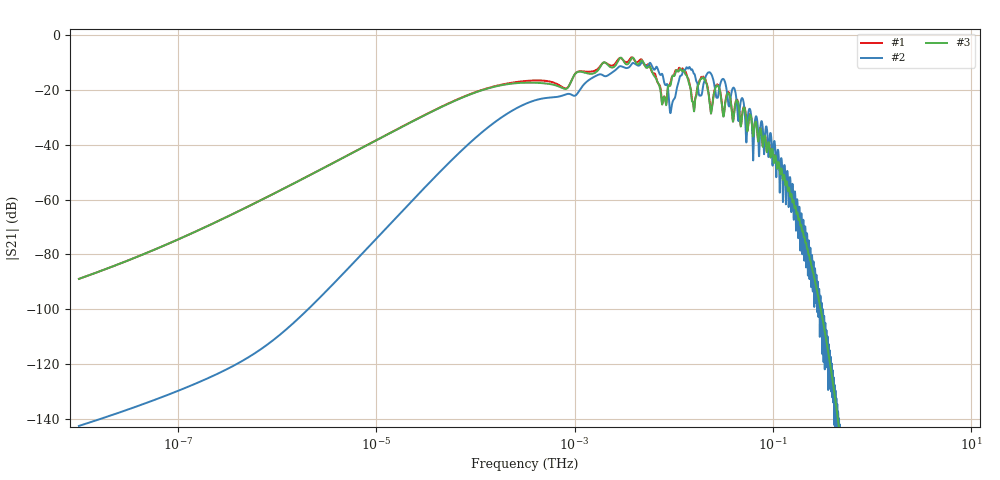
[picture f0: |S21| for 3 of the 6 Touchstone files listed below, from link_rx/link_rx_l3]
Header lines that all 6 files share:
! NPort=2 DATA=4501 NOISE=0 GROUPDELAY=0 COMPLEX_DATAFORMAT=RI
! NumOfBlock=1 NumOfParam=0
!  -- The above .MODEL line can be used for the S element in the netlist.
# Hz S RI R  50
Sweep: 10 kHz to 10 THz
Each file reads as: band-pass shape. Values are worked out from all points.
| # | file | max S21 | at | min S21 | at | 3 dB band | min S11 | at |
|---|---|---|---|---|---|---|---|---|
| 1 | lr10000_10000000000000dec_0_3.s2p | -7.96 dB | 3.784 GHz | -198.9 dB | 676.1 GHz | 2.432 GHz-5.105 GHz | -70.4 dB | 10 kHz |
| 2 | lr10000_10000000000000dec_0_5.s2p | -9.72 dB | 4.831 GHz | -198.9 dB | 657.7 GHz | 2.57 GHz-6.95 GHz | -70.4 dB | 10 kHz |
| 3 | lr10000_10000000000000dec_2_1.s2p | -8.08 dB | 3.855 GHz | -198.4 dB | 673 GHz | 2.57 GHz-5.105 GHz | -73.4 dB | 10 kHz |
| 4 | lr10000_10000000000000dec_2_5.s2p | -8.08 dB | 3.855 GHz | -198.4 dB | 673 GHz | 2.57 GHz-5.105 GHz | -73.4 dB | 10 kHz |
| 5 | lr10000_10000000000000dec_4_1.s2p | -9.72 dB | 4.831 GHz | -198.9 dB | 657.7 GHz | 2.57 GHz-6.95 GHz | -70.4 dB | 10 kHz |
| 6 | lr10000_10000000000000dec_4_3.s2p | -7.96 dB | 3.784 GHz | -198.9 dB | 676.1 GHz | 2.432 GHz-5.105 GHz | -70.4 dB | 10 kHz |
